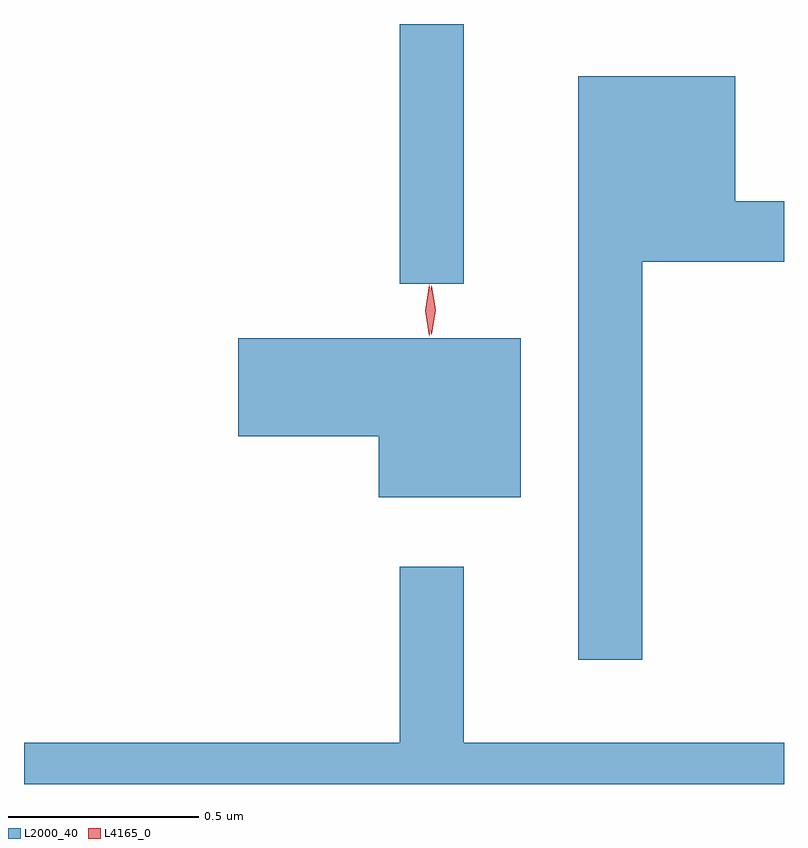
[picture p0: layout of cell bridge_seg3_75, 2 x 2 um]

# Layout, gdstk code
import gdstk
lib = gdstk.Library(unit=1e-6, precision=1e-09)
def R(c, l, rs):  # rectangles x0, y0, x1, y1
    for r in rs: c.add(gdstk.rectangle(r[:2], r[2:], *l))
def P(c, l, *ps):  # polygons
    for p in ps: c.add(gdstk.Polygon(p, *l))
L2000_40 = (2000, 40)
L4165_0 = (4165, 0)

bridge_seg3_75 = lib.new_cell('bridge_seg3_75')
R(bridge_seg3_75, L2000_40, [(1141.461,1180.773,1141.629,1181.456)])
P(bridge_seg3_75, L2000_40, [(1142.099,1180.831),(1142.472,1180.831),(1142.472,1180.989),(1142.344,1180.989),(1142.344,1181.319),(1141.931,1181.319),(1141.931,1179.783),(1142.099,1179.783)],
  [(1141.779,1180.629),(1141.036,1180.629),(1141.036,1180.371),(1141.406,1180.371),(1141.406,1180.211),(1141.779,1180.211)],
  [(1142.472,1179.564),(1141.629,1179.564),(1141.629,1180.028),(1141.461,1180.028),(1141.461,1179.564),(1140.472,1179.564),(1140.472,1179.456),(1142.472,1179.456)])
P(bridge_seg3_75, L4165_0, [(1141.538,1180.634),(1141.538,1180.634),(1141.528,1180.702),(1141.538,1180.77),(1141.538,1180.77),(1141.539,1180.77),(1141.548,1180.702),(1141.539,1180.634)],
  [(1141.544,1180.64),(1141.535,1180.704),(1141.544,1180.766),(1141.545,1180.767),(1141.545,1180.766),(1141.555,1180.704),(1141.545,1180.64),(1141.545,1180.64)])

lib.write_gds('bridge_seg3_75.gds')
